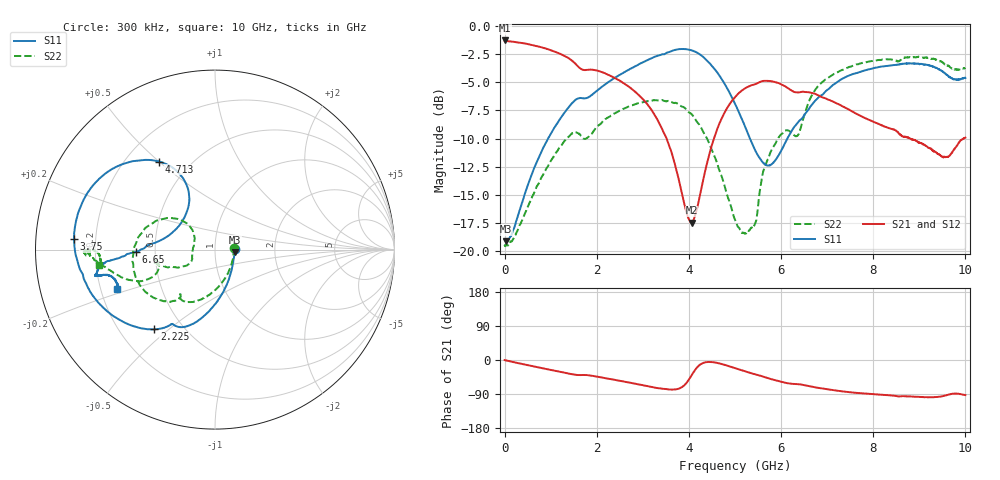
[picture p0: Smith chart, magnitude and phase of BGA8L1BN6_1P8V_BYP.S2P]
!Agilent Technologies,E5071C,MY46316587,B.13.01
!Date: Tue Nov 28 12:33:35 2017
!Data & Calibration Information:
!Freq	S11:SOLT2(ON)	S21:SOLT2(ON)	S12:SOLT2(ON)	S22:SOLT2(ON)
!PortZ  Port1:50+j0  Port2:50+j0
!Above PortZ is port z conversion or system Z0 setting when saving the data.
!When reading, reference impedance value at option line is always used.
# Hz S RI R 50
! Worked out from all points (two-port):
!   1601 points, 300 kHz to 10 GHz, reference 50 ohm
!   highest |S21| = -1.28 dB at 6.55 MHz (marker M1); lowest = -17.5 dB at 4.056 GHz (marker M2)
!   |S21| within 3 dB of the highest: start of sweep to 2.217 GHz
!   lowest |S11| = -19.1 dB at 31.55 MHz (marker M3), VSWR 1.25, Z = 62.3 - j1.83 ohm
!   |S11| at or under -10 dB: start of sweep to 945.2 MHz; 5.324 GHz to 6.137 GHz (813.2 MHz wide, 14.2 % of centre)
!   |S22| runs from -19.6 to -2.7 dB; largest |S21 - S12| = 0.0083
!   S11 on the Smith chart (normalised r, x): 300 kHz: 1.25, +0.01; 2.225 GHz: 0.35, -0.45; 3.75 GHz: 0.12, +0.04; 4.713 GHz: 0.34, +0.50; 6.65 GHz: 0.39, -0.01; 10 GHz: 0.27, -0.18
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300000  0.1122 0.00251  0.8595 -0.00321  0.8576 -0.00477  0.1048 0.00665
6549813  0.1118 -0.00451  0.8629 -0.00474  0.858 -0.00517  0.1062 -0.00236
3.154906e7  0.1094 -0.0145  0.8586 -0.016  0.8569 -0.0154  0.1053 -0.0108
9.127726e8  -0.00207 -0.307  0.7239 -0.3218  0.7234 -0.322  -0.00755 -0.2335
1.669e9  -0.2268 -0.4214  0.4942 -0.4102  0.4953 -0.4106  -0.1986 -0.2549
2.225233e9  -0.3382 -0.4445  0.4023 -0.4593  0.4041 -0.4583  -0.2612 -0.2899
2.868964e9  -0.548 -0.3812  0.2247 -0.45  0.2257 -0.4468  -0.3829 -0.2387
3.3377e9  -0.7094 -0.2076  0.1009 -0.3624  0.1005 -0.3604  -0.4471 -0.1344
3.750188e9  -0.7851 0.0577  0.0508 -0.2142  0.0515 -0.2135  -0.4519 0.00884
4.056428e9  -0.7206 0.2989  0.1014 -0.0871  0.1031 -0.0875  -0.3879 0.121
4.375169e9  -0.5298 0.4701  0.2362 -0.0239  0.2371 -0.023  -0.2683 0.1761
4.712659e9  -0.3114 0.4906  0.3824 -0.0717  0.3815 -0.0726  -0.1566 0.1459
5.00015e9  -0.1881 0.4107  0.45 -0.1752  0.4505 -0.1753  -0.1156 0.0741
5.412638e9  -0.1463 0.2473  0.4394 -0.3303  0.4373 -0.3317  -0.1262 -0.0266
5.725128e9  -0.1944 0.1407  0.3793 -0.4257  0.3776 -0.4275  -0.2411 -0.0959
6.362609e9  -0.3718 0.0244  0.2229 -0.4545  0.2223 -0.4559  -0.3122 -0.0943
6.6501e9  -0.4421 -0.0131  0.1749 -0.4744  0.1741 -0.4744  -0.4523 -0.1738
6.66885e9  -0.4468 -0.0142  0.1708 -0.4746  0.1704 -0.4751  -0.4611 -0.1717
7.287581e9  -0.5741 -0.0578  0.0611 -0.4408  0.0593 -0.4402  -0.6262 -0.0903
8.33755e9  -0.6545 -0.1206  -0.0183 -0.3518  -0.0195 -0.3523  -0.7112 -0.00875
9.531264e9  -0.6047 -0.1404  -0.0204 -0.2609  -0.0205 -0.2662  -0.6818 0.0007
1e10  -0.5445 -0.221  -0.0143 -0.3189  -0.0111 -0.321  -0.6455 -0.0847
